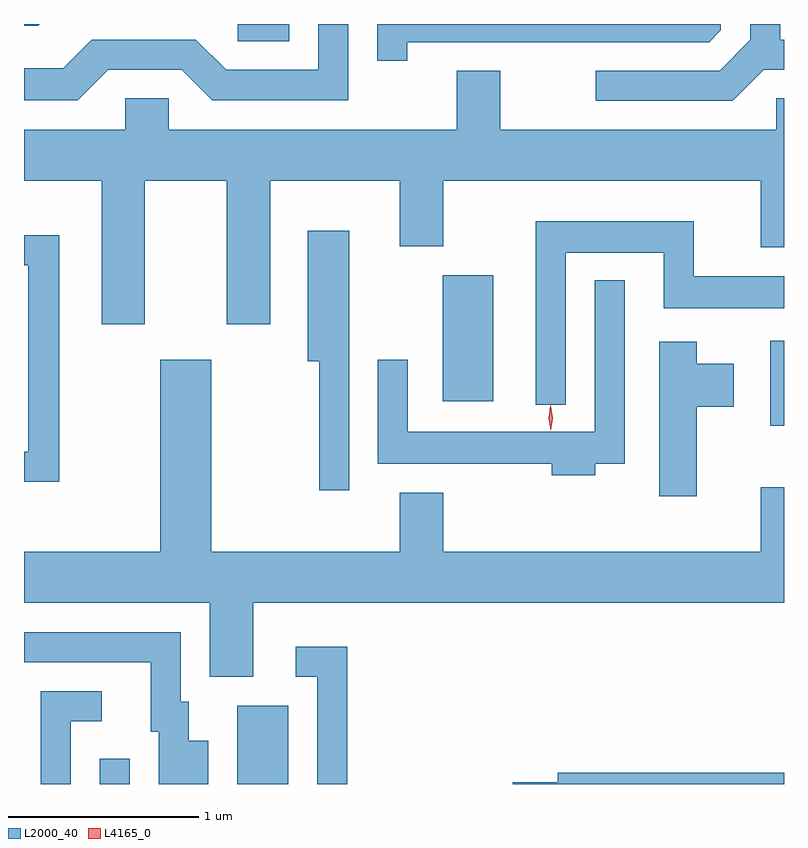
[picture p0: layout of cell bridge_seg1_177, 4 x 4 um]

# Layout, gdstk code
import gdstk
lib = gdstk.Library(unit=1e-6, precision=1e-09)
def R(c, l, rs):  # rectangles x0, y0, x1, y1
    for r in rs: c.add(gdstk.rectangle(r[:2], r[2:], *l))
def P(c, l, *ps):  # polygons
    for p in ps: c.add(gdstk.Polygon(p, *l))
L2000_40 = (2000, 40)
L4165_0 = (4165, 0)

bridge_seg1_177 = lib.new_cell('bridge_seg1_177')
R(bridge_seg1_177, L2000_40, [(785.851,934.141,786.009,934.273), (786.576,934.141,786.844,934.554), (789.381,936.026,789.453,936.474), (787.656,936.156,787.924,936.819), (786.578,938.051,786.849,938.141)])
P(bridge_seg1_177, L2000_40, [(787.469,938.046),(789.059,938.046),(789.119,938.107),(789.119,938.141),(787.311,938.141),(787.311,937.948),(787.469,937.948)],
  [(785.897,937.901),(786.284,937.901),(786.444,937.741),(787.159,937.741),(787.159,938.141),(787.001,938.141),(787.001,937.899),(786.517,937.899),(786.357,938.059),(785.809,938.059),(785.659,937.909),(785.453,937.909),(785.453,937.741),(785.737,937.741)],
  [(789.347,937.901),(789.453,937.901),(789.453,938.059),(789.434,938.059),(789.434,938.141),(789.276,938.141),(789.276,938.057),(789.114,937.894),(788.463,937.894),(788.463,937.736),(789.182,937.736)],
  [(785.537,938.141),(785.453,938.141),(785.453,938.131),(785.527,938.131)],
  [(786.089,937.316),(786.521,937.316),(786.521,936.561),(786.749,936.561),(786.749,937.316),(787.431,937.316),(787.431,936.971),(787.659,936.971),(787.659,937.316),(789.331,937.316),(789.331,936.966),(789.453,936.966),(789.453,937.749),(789.411,937.749),(789.411,937.584),(787.959,937.584),(787.959,937.894),(787.731,937.894),(787.731,937.584),(786.214,937.584),(786.214,937.749),(785.986,937.749),(785.986,937.584),(785.453,937.584),(785.453,937.316),(785.861,937.316),(785.861,936.561),(786.089,936.561)],
  [(788.304,936.936),(788.821,936.936),(788.821,936.646),(789.453,936.646),(789.453,936.814),(788.979,936.814),(788.979,937.104),(788.146,937.104),(788.146,936.138),(788.304,936.138)],
  [(787.164,937.054),(786.946,937.054),(786.946,936.366),(787.006,936.366),(787.006,935.688),(787.164,935.688)],
  [(785.639,937.029),(785.453,937.029),(785.453,936.871),(785.476,936.871),(785.476,935.889),(785.453,935.889),(785.453,935.731),(785.639,935.731)],
  [(788.459,935.826),(788.614,935.826),(788.614,936.793),(788.456,936.793),(788.456,935.994),(787.474,935.994),(787.474,936.373),(787.316,936.373),(787.316,935.826),(788.231,935.826),(788.231,935.766),(788.459,935.766)],
  [(788.994,936.126),(789.189,936.126),(789.189,936.354),(788.994,936.354),(788.994,936.469),(788.796,936.469),(788.796,935.656),(788.994,935.656)],
  [(786.659,935.096),(789.453,935.096),(789.453,935.704),(789.331,935.704),(789.331,935.364),(787.659,935.364),(787.659,935.674),(787.431,935.674),(787.431,935.364),(786.439,935.364),(786.439,936.374),(786.171,936.374),(786.171,935.364),(785.453,935.364),(785.453,935.096),(786.431,935.096),(786.431,934.706),(786.659,934.706)],
  [(786.424,934.369),(786.319,934.369),(786.319,934.574),(786.279,934.574),(786.279,934.939),(785.453,934.939),(785.453,934.781),(786.121,934.781),(786.121,934.416),(786.161,934.416),(786.161,934.141),(786.424,934.141)],
  [(787.154,934.864),(786.883,934.864),(786.883,934.706),(786.996,934.706),(786.996,934.141),(787.154,934.141)],
  [(785.699,934.471),(785.863,934.471),(785.863,934.629),(785.541,934.629),(785.541,934.141),(785.699,934.141)],
  [(789.453,934.199),(788.261,934.199),(788.261,934.149),(788.026,934.149),(788.026,934.141),(789.453,934.141)])
P(bridge_seg1_177, L4165_0, [(788.225,935.999),(788.225,936),(788.215,936.066),(788.224,936.132),(788.225,936.133),(788.225,936.132),(788.235,936.066),(788.226,936)])

lib.write_gds('bridge_seg1_177.gds')
